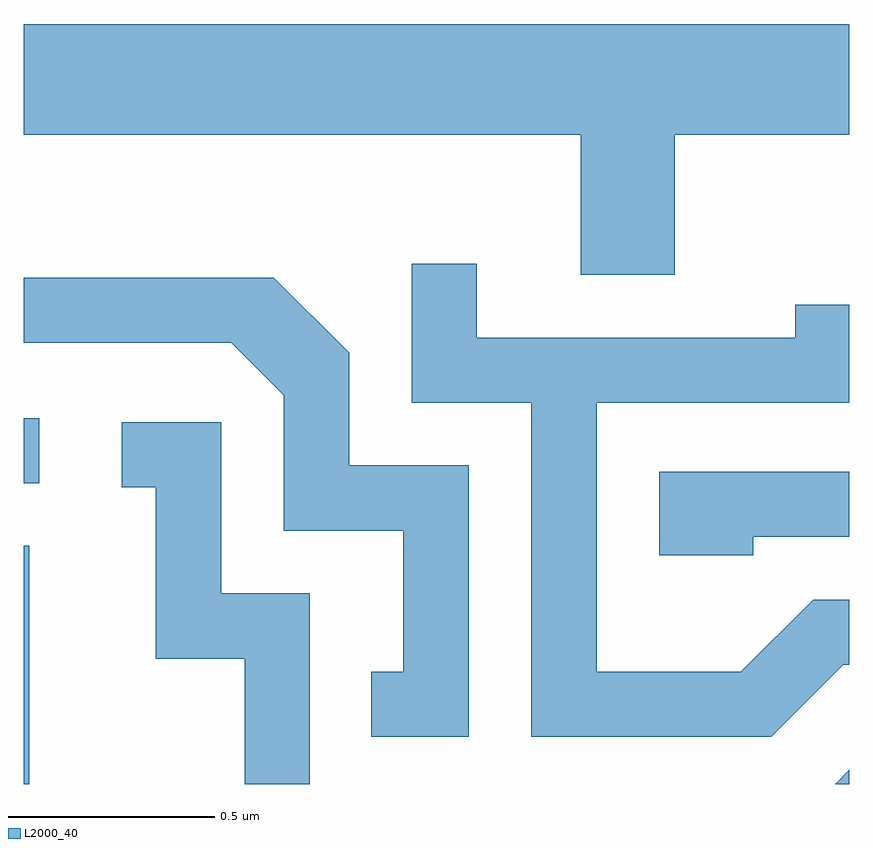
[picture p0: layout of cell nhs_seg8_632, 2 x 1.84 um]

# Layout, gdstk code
import gdstk
lib = gdstk.Library(unit=1e-6, precision=1e-09)
def R(c, l, rs):  # rectangles x0, y0, x1, y1
    for r in rs: c.add(gdstk.rectangle(r[:2], r[2:], *l))
def P(c, l, *ps):  # polygons
    for p in ps: c.add(gdstk.Polygon(p, *l))
L2000_40 = (2000, 40)

nhs_seg8_632 = lib.new_cell('nhs_seg8_632')
R(nhs_seg8_632, L2000_40, [(189.611,1890.342,189.624,1890.919), (189.611,1891.071,189.648,1891.229)])
P(nhs_seg8_632, L2000_40, [(191.189,1891.916),(191.611,1891.916),(191.611,1892.184),(189.611,1892.184),(189.611,1891.916),(190.961,1891.916),(190.961,1891.576),(191.189,1891.576)],
  [(191.597,1890.631),(191.611,1890.631),(191.611,1890.789),(191.524,1890.789),(191.349,1890.614),(190.999,1890.614),(190.999,1891.266),(191.611,1891.266),(191.611,1891.503),(191.481,1891.503),(191.481,1891.424),(190.709,1891.424),(190.709,1891.603),(190.551,1891.603),(190.551,1891.266),(190.841,1891.266),(190.841,1890.456),(191.422,1890.456)],
  [(190.689,1891.114),(190.399,1891.114),(190.399,1891.387),(190.217,1891.569),(189.611,1891.569),(189.611,1891.411),(190.114,1891.411),(190.241,1891.284),(190.241,1890.956),(190.531,1890.956),(190.531,1890.614),(190.453,1890.614),(190.453,1890.456),(190.689,1890.456)],
  [(190.304,1890.804),(190.089,1890.804),(190.089,1891.219),(189.848,1891.219),(189.848,1891.061),(189.931,1891.061),(189.931,1890.646),(190.146,1890.646),(190.146,1890.342),(190.304,1890.342)],
  [(191.379,1890.941),(191.611,1890.941),(191.611,1891.099),(191.151,1891.099),(191.151,1890.896),(191.379,1890.896)],
  [(191.611,1890.376),(191.577,1890.342),(191.611,1890.342)])

lib.write_gds('nhs_seg8_632.gds')
